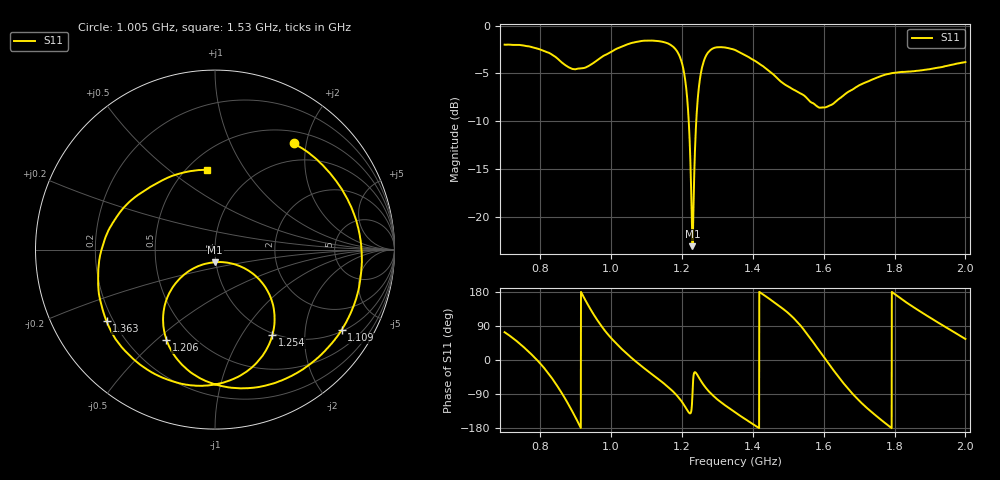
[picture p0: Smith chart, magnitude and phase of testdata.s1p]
!Keysight Technologies,P9371A,MY57212015,Z.15.41.75
!Date: Monday, April 25, 2022 14:26:42
!Correction: S11(C  1-Port  )
!S1P File: Measurement: S11:
# Hz S  dB  R 50
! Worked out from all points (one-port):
!   2601 points, 700 MHz to 2 GHz, reference 50 ohm
!   lowest |S11| = -23.1 dB at 1.23 GHz (marker M1), VSWR 1.15, Z = 49.6 - j6.98 ohm
!   |S11| at or under -10 dB: 1.219 GHz to 1.241 GHz (21.21 MHz wide, 1.72 % of centre)
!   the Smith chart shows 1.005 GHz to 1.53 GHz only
!   S11 on the Smith chart (normalised r, x): 1.005 GHz: 0.69, +1.78; 1.109 GHz: 1.05, -3.11; 1.206 GHz: 0.36, -0.54; 1.254 GHz: 0.97, -1.38; 1.363 GHz: 0.17, -0.29; 1.53 GHz: 0.62, +0.69
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7e8  -2.00 73.4
7.43e8  -2.03 42.9
7.935e8  -2.42 -2.1
8.26e8  -2.87 -38.2
8.625e8  -3.89 -89.1
8.97e8  -4.57 -146.2
9.215e8  -4.46 168.9
9.63e8  -3.59 103.3
1.005e9  -2.66 53.4
1.025e9  -2.29 34.0
1.065e9  -1.77 0.1
1.1085e9  -1.56 -32.5
1.1875e9  -2.74 -95.1
1.206e9  -4.88 -118.3
1.23e9  -23.09 -89.2
1.2545e9  -4.83 -56.1
1.29e9  -2.36 -95.6
1.35e9  -2.55 -138.0
1.3635e9  -2.80 -146.5
1.4305e9  -4.29 172.2
1.5125e9  -6.65 113.2
1.5305e9  -7.02 95.5
1.605e9  -8.56 2.5
1.675e9  -6.83 -82.4
1.7625e9  -5.28 -158.2
1.8375e9  -4.82 149.4
1.92e9  -4.42 100.5
2e9  -3.83 55.5
